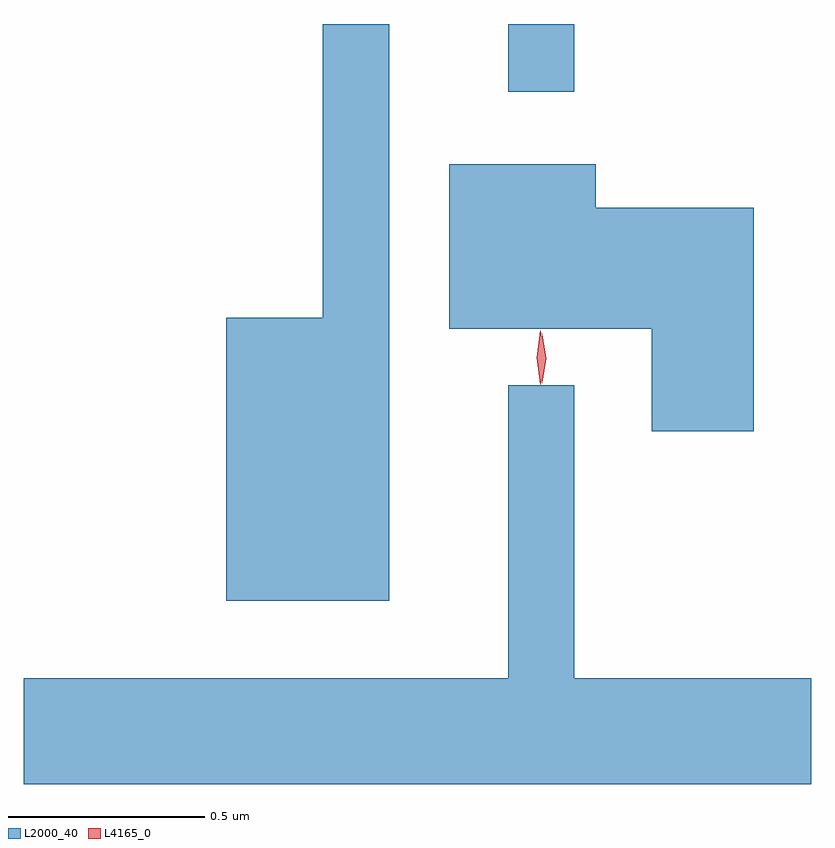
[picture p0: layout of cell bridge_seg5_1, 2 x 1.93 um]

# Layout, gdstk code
import gdstk
lib = gdstk.Library(unit=1e-6, precision=1e-09)
def R(c, l, rs):  # rectangles x0, y0, x1, y1
    for r in rs: c.add(gdstk.rectangle(r[:2], r[2:], *l))
def P(c, l, *ps):  # polygons
    for p in ps: c.add(gdstk.Polygon(p, *l))
L2000_40 = (2000, 40)
L4165_0 = (4165, 0)

bridge_seg5_1 = lib.new_cell('bridge_seg5_1')
R(bridge_seg5_1, L2000_40, [(1735.971,1507.393,1736.139,1507.565)])
P(bridge_seg5_1, L2000_40, [(1735.669,1507.565),(1735.501,1507.565),(1735.501,1506.819),(1735.256,1506.819),(1735.256,1506.101),(1735.669,1506.101)],
  [(1736.594,1507.099),(1736.194,1507.099),(1736.194,1507.209),(1735.821,1507.209),(1735.821,1506.791),(1736.336,1506.791),(1736.336,1506.531),(1736.594,1506.531)],
  [(1735.971,1506.648),(1735.971,1505.904),(1734.741,1505.904),(1734.741,1505.636),(1736.741,1505.636),(1736.741,1505.904),(1736.139,1505.904),(1736.139,1506.648)])
P(bridge_seg5_1, L4165_0, [(1736.053,1506.65),(1736.044,1506.718),(1736.053,1506.786),(1736.054,1506.786),(1736.054,1506.786),(1736.064,1506.718),(1736.054,1506.65),(1736.054,1506.65)],
  [(1736.058,1506.653),(1736.058,1506.654),(1736.048,1506.716),(1736.058,1506.778),(1736.058,1506.779),(1736.058,1506.778),(1736.068,1506.716),(1736.058,1506.654)])

lib.write_gds('bridge_seg5_1.gds')
